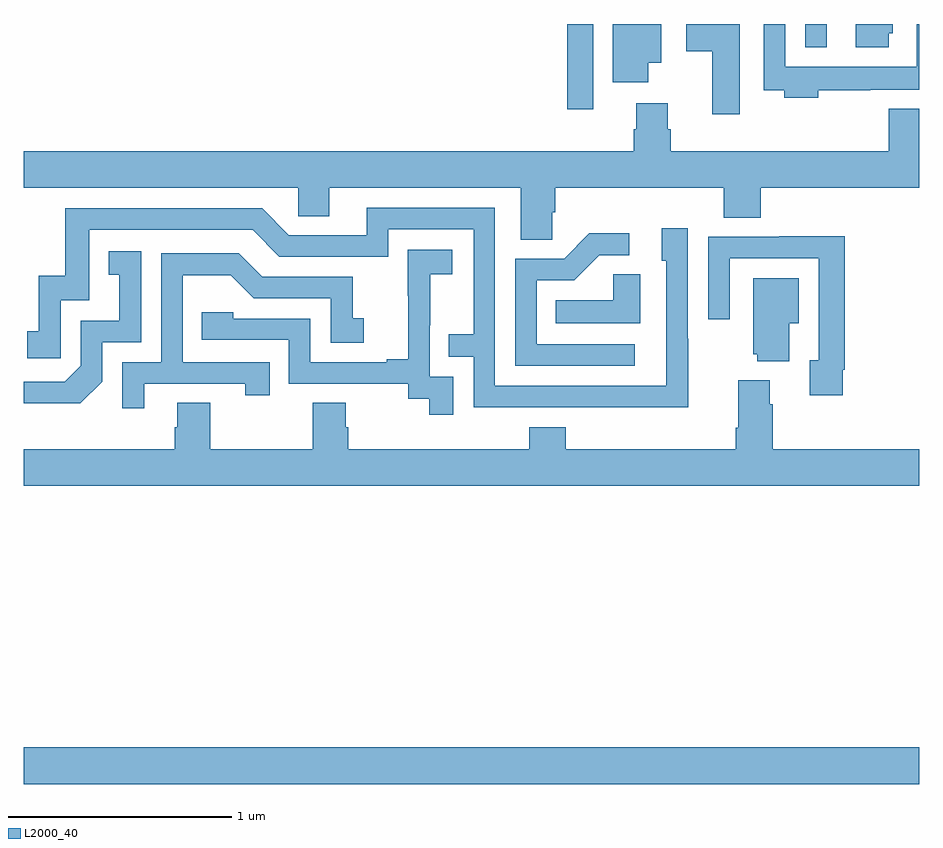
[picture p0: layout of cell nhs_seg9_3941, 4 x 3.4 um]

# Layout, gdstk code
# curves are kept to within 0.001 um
import gdstk
lib = gdstk.Library(unit=1e-6, precision=1e-09)
def R(c, l, rs):  # rectangles x0, y0, x1, y1
    for r in rs: c.add(gdstk.rectangle(r[:2], r[2:], *l))
def P(c, l, *ps):  # polygons
    for p in ps: c.add(gdstk.Polygon(p, *l))
L2000_40 = (2000, 40)

nhs_seg9_3941 = lib.new_cell('nhs_seg9_3941')
R(nhs_seg9_3941, L2000_40, [(337,1179.104,341,1179.268), (339.427,1182.12,339.543,1182.5), (340.491,1182.395,340.588,1182.5)])
P(nhs_seg9_3941, L2000_40, [(340.198,1182.5),(339.959,1182.5),(339.959,1182.379),(340.076,1182.379),(340.076,1182.096),(340.198,1182.096)],
  [(340.864,1182.459),(340.882,1182.459),(340.882,1182.5),(340.718,1182.5),(340.718,1182.396),(340.864,1182.396)],
  [(340.55,1182.204),(340.781,1182.204),(340.781,1182.206),(341,1182.206),(341,1182.5),(340.989,1182.5),(340.989,1182.31),(340.401,1182.31),(340.401,1182.5),(340.305,1182.5),(340.305,1182.204),(340.397,1182.204),(340.397,1182.17),(340.55,1182.17)],
  [(339.79,1182.326),(339.847,1182.326),(339.847,1182.5),(339.632,1182.5),(339.632,1182.24),(339.79,1182.24)],
  [(341,1182.121),(340.865,1182.121),(340.865,1181.932),(339.89,1181.932),(339.89,1182.03),(339.877,1182.03),(339.877,1182.145),(339.737,1182.145),(339.737,1182.03),(339.725,1182.03),(339.725,1181.932),(337,1181.932),(337,1181.768),(338.226,1181.768),(338.226,1181.641),(338.365,1181.641),(338.365,1181.768),(339.221,1181.768),(339.221,1181.536),(339.36,1181.536),(339.36,1181.659),(339.374,1181.659),(339.374,1181.768),(340.127,1181.768),(340.127,1181.635),(340.292,1181.635),(340.292,1181.768),(341,1181.768)],
  [(339.969,1181.093),(339.966,1181.093),(339.966,1181.587),(339.851,1181.587),(339.851,1181.442),(339.87,1181.442),(339.87,1180.884),(339.105,1180.884),(339.105,1181.679),(338.531,1181.679),(338.531,1181.556),(338.184,1181.556),(338.064,1181.676),(337.185,1181.676),(337.185,1181.374),(337.067,1181.374),(337.067,1181.127),(337.014,1181.127),(337.014,1181.007),(337.164,1181.007),(337.164,1181.265),(337.293,1181.265),(337.293,1181.58),(338.022,1181.58),(338.142,1181.46),(338.628,1181.46),(338.628,1181.583),(339.009,1181.583),(339.009,1181.114),(338.899,1181.114),(338.899,1181.013),(339.009,1181.013),(339.009,1180.788),(339.969,1180.787)],
  [(339.73,1181.07),(339.291,1181.07),(339.291,1181.355),(339.46,1181.355),(339.571,1181.466),(339.706,1181.466),(339.706,1181.564),(339.527,1181.564),(339.414,1181.451),(339.195,1181.451),(339.195,1180.974),(339.73,1180.974)],
  [(340.66,1180.954),(340.667,1180.954),(340.667,1181.552),(340.375,1181.552),(340.375,1181.55),(340.059,1181.55),(340.059,1181.181),(340.155,1181.181),(340.155,1181.454),(340.551,1181.454),(340.551,1180.998),(340.511,1180.998),(340.511,1180.842),(340.66,1180.842)],
  [(338.919,1180.923),(338.814,1180.923),(338.814,1181.153),(338.816,1181.153),(338.816,1181.381),(338.914,1181.381),(338.914,1181.491),(338.716,1181.491),(338.716,1181.285),(338.717,1181.285),(338.717,1181.002),(338.621,1181.002),(338.621,1180.989),(338.28,1180.989),(338.28,1181.184),(337.935,1181.184),(337.935,1181.211),(337.795,1181.211),(337.795,1181.088),(338.184,1181.088),(338.184,1180.893),(338.718,1180.893),(338.718,1180.825),(338.811,1180.825),(338.811,1180.755),(338.919,1180.755)],
  [(337.35,1180.902),(337.35,1181.079),(337.524,1181.079),(337.524,1181.485),(337.378,1181.485),(337.378,1181.379),(337.427,1181.379),(337.427,1181.175),(337.254,1181.175),(337.254,1180.974),(337.182,1180.902),(337,1180.902),(337,1180.805),(337.252,1180.805)],
  [(337.537,1180.893),(337.988,1180.893),(337.988,1180.842),(338.099,1180.842),(338.099,1180.989),(337.71,1180.989),(337.71,1181.378),(337.924,1181.378),(338.028,1181.274),(338.37,1181.274),(338.37,1181.076),(338.518,1181.076),(338.518,1181.185),(338.469,1181.185),(338.469,1181.37),(338.065,1181.37),(337.96,1181.475),(337.614,1181.475),(337.614,1180.989),(337.44,1180.989),(337.44,1180.782),(337.537,1180.782)],
  [(339.754,1181.381),(339.633,1181.381),(339.633,1181.266),(339.376,1181.266),(339.376,1181.162),(339.754,1181.162)],
  [(340.42,1181.162),(340.462,1181.162),(340.462,1181.365),(340.259,1181.365),(340.259,1181.025),(340.277,1181.025),(340.277,1180.994),(340.42,1180.994)],
  [(341,1180.6),(340.346,1180.6),(340.346,1180.802),(340.333,1180.802),(340.333,1180.909),(340.193,1180.909),(340.193,1180.696),(340.181,1180.696),(340.181,1180.6),(339.422,1180.6),(339.422,1180.699),(339.257,1180.699),(339.257,1180.6),(338.45,1180.6),(338.45,1180.698),(338.437,1180.698),(338.437,1180.808),(338.29,1180.808),(338.29,1180.6),(337.833,1180.6),(337.833,1180.808),(337.685,1180.808),(337.685,1180.698),(337.673,1180.698),(337.673,1180.6),(337,1180.6),(337,1180.436),(341,1180.436)])

lib.write_gds('nhs_seg9_3941.gds')
